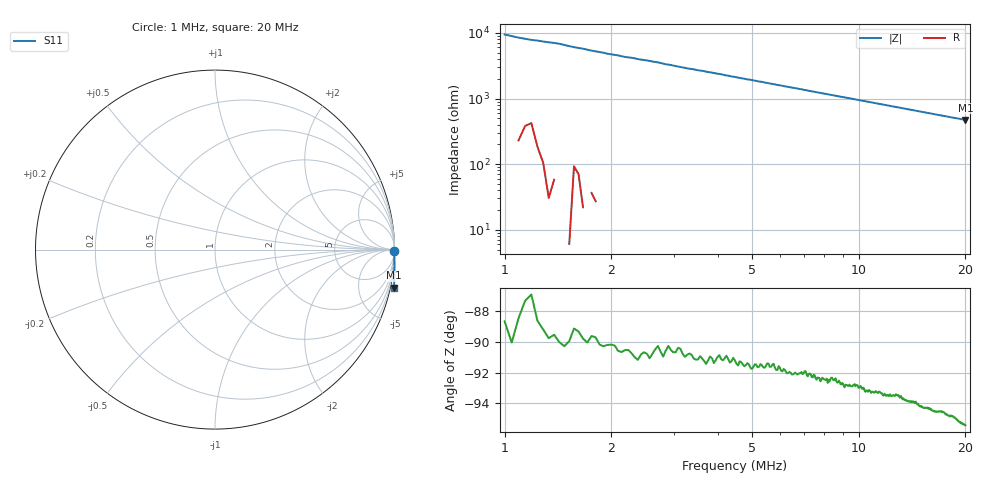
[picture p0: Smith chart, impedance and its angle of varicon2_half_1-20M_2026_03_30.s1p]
# HZ S RI R 50
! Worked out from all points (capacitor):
!   401 points, 1 MHz to 20 MHz, reference 50 ohm
!   read as one part to ground: C = 16.8 pF near 1.095 MHz
!   lowest |Z| = 472 ohm at 20 MHz (marker M1)
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1000000  0.9997 -0.0106
1190000  0.9992 -0.0128
1427500  0.9999 -0.0147
2045000  0.9999 -0.0216
2662500  0.9998 -0.0278
3375000  0.9999 -0.0355
3992500  0.9998 -0.0419
5750000  0.9997 -0.0605
6795000  1 -0.0716
7555000  1 -0.0796
8125000  0.9999 -0.0857
8505000  0.9999 -0.0898
8837500  0.9999 -0.0933
9170000  1 -0.0969
9835000  0.9998 -0.104
1.05e7  1 -0.1111
1.088e7  1 -0.115
1.20675e7  0.9996 -0.1278
1.2875e7  0.999 -0.1365
1.35875e7  0.9992 -0.1442
1.4395e7  0.999 -0.1529
1.525e7  0.9991 -0.162
1.62475e7  0.9986 -0.1732
1.6865e7  0.9981 -0.1795
1.7625e7  0.9979 -0.1878
1.8575e7  0.9975 -0.1978
1.90975e7  0.9977 -0.2034
2e7  0.9976 -0.2128
